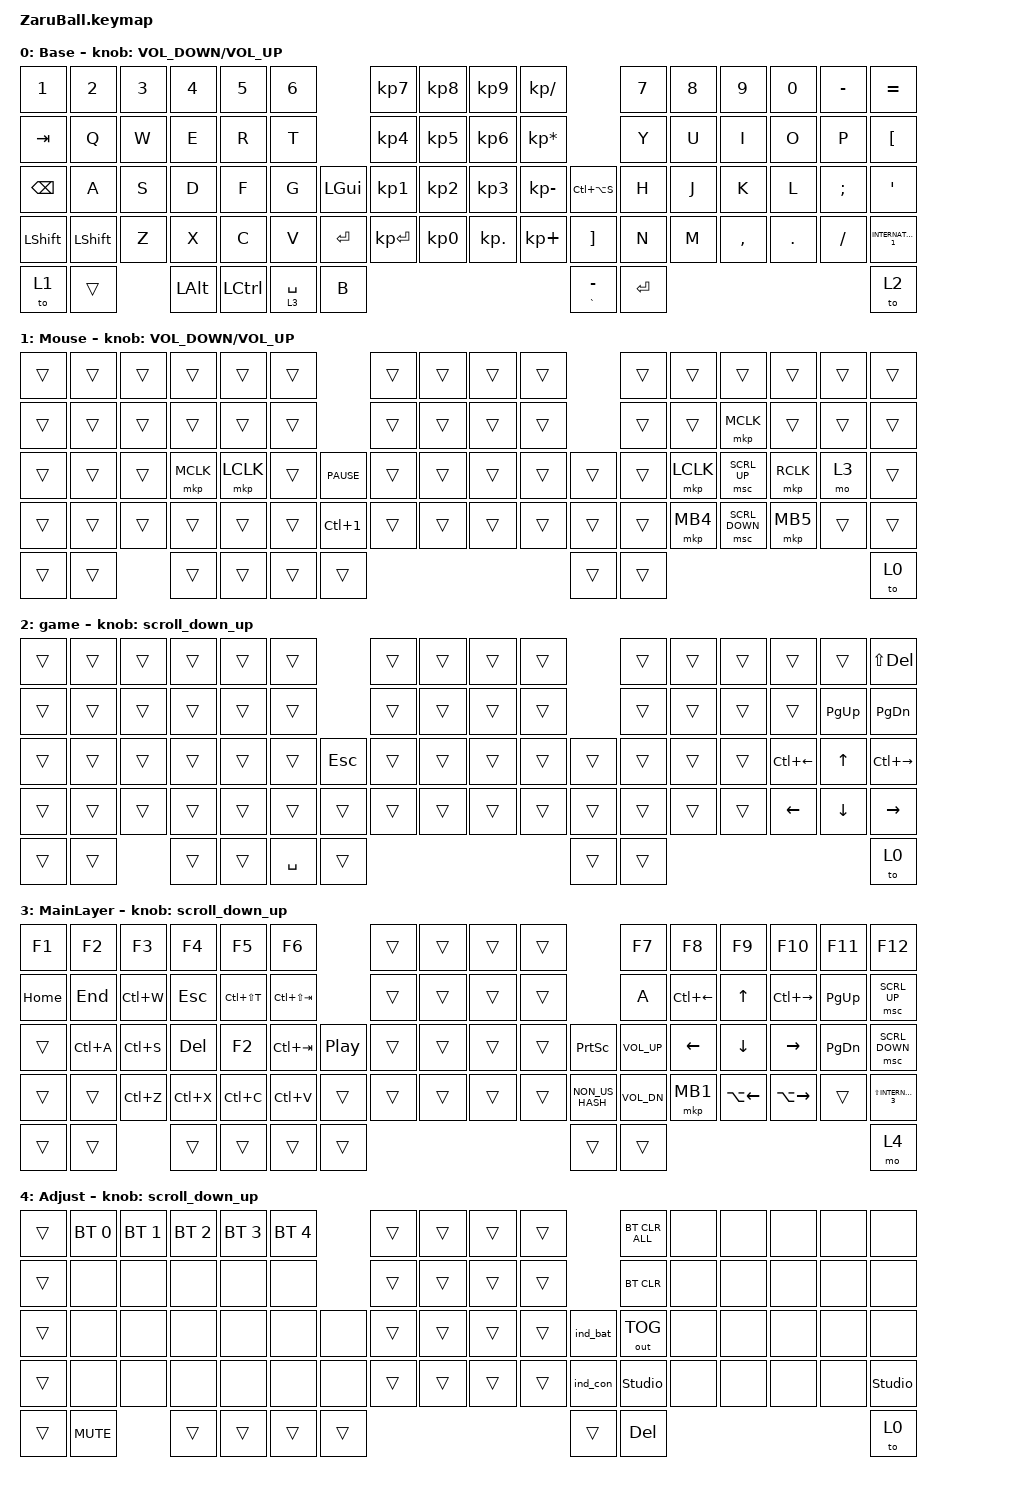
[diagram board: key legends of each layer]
//#include <dt-bindings/zmk/mouse.h>

#include <behaviors/rgbled_widget.dtsi>
#include <input/processors.dtsi>
#include <dt-bindings/zmk/input_transform.h>
#include <behaviors.dtsi>
#include <dt-bindings/zmk/bt.h>
#include <dt-bindings/zmk/keys.h>
#include <dt-bindings/zmk/outputs.h>
#include <dt-bindings/zmk/pointing.h>

#define BASE     0
#define MOUSE    1
#define LOWER    2
#define RAISE    3
#define ADJUST   4
#define SCROLL   3

// スクロール量の設定

#define ZMK_POINTING_DEFAULT_SCRL_VAL 100

&trackball_listener {
    input-processors = <
                         &zip_xy_transform (INPUT_TRANSFORM_XY_SWAP | INPUT_TRANSFORM_Y_INVERT | INPUT_TRANSFORM_X_INVERT)
                         &zip_temp_layer MOUSE 500
    >;

    scroller {
        layers = <SCROLL>;
        input-processors = <
                            &zip_xy_transform (INPUT_TRANSFORM_XY_SWAP | INPUT_TRANSFORM_X_INVERT)
                            &zip_xy_scaler 1 20
                            &zip_xy_to_scroll_mapper
        >;
    };
};

/ {
    conditional_layers { compatible = "zmk,conditional-layers"; };
};

/ {
    behaviors {
        // スクロール用のbehaviorの設定

        scroll_down_up: behavior_sensor_rotate_mouse_wheel_down_up {
            compatible = "zmk,behavior-sensor-rotate";
            #sensor-binding-cells = <0>;
            bindings = <&msc SCRL_DOWN>, <&msc SCRL_UP>;

            tap-ms = <20>; // スクロールのタップ時間
        };

        td0: tap_dance_0 {
            compatible = "zmk,behavior-tap-dance";
            #binding-cells = <0>;
            tapping-term-ms = <200>;
            bindings = <&to 1>, <&to 2>;
        };

        td1: tap_dance_1 {
            compatible = "zmk,behavior-tap-dance";
            #binding-cells = <0>;
            tapping-term-ms = <200>;
            bindings = <&mt RCTL LANG1>, <&mo 0>, <&mo 0>;
        };

        // Customed Hold-Tap for SandS

        SandS: SandS {
            compatible = "zmk,behavior-hold-tap";
            #binding-cells = <2>;
            flavor = "tap-unless-interrupted";
            tapping-term-ms = <500>;
            quick-tap-ms = <500>;
            bindings = <&kp>, <&kp>;

            display-name = "SandS";
        };
    };
};

&sl { release-after-ms = <250>; }; // time needed for double click (for mkp_exit_AML)
/ {
    macros {
        // When in AML, move to default layer when key (except mouse button) pressed

        to_layer_0: to_layer_0 {
            compatible = "zmk,behavior-macro-one-param";
            #binding-cells = <1>;
            bindings = <&macro_param_1to1 &kp MACRO_PLACEHOLDER &to 0>;
            label = "TO_layer_0";
        };

        // When LCLK pressed, exit AML (after 250ms cause by sticky layer

        mkp_exit_AML: mkp_exit_AML {
            compatible = "zmk,behavior-macro-one-param";
            #binding-cells = <1>;
            bindings =
                <&macro_press>,
                <&macro_param_1to1 &mkp MACRO_PLACEHOLDER>,
                <&macro_pause_for_release>,
                <&macro_release>,
                <&macro_param_1to1 &mkp MACRO_PLACEHOLDER>,
                <&macro_tap>,
                <&sl 1>;

            label = "MKP_EXIT_AML";
        };
    };
};

/ {
    keymap {
        compatible = "zmk,keymap";

        base_layer {
            display-name = "Base";
            sensor-bindings = <&inc_dec_kp C_VOLUME_DOWN C_VOLUME_UP>;
            bindings = <
&kp NUMBER_1   &kp NUMBER_2  &kp NUMBER_3  &kp NUMBER_4  &kp NUMBER_5  &kp NUMBER_6                  &kp KP_N7     &kp KP_N8  &kp KP_N9   &kp KP_DIVIDE                         &kp NUMBER_7  &kp N8  &kp N9     &kp NUMBER_0  &kp MINUS  &kp EQUAL
&kp TAB        &kp Q         &kp W         &kp E         &kp R         &kp T                         &kp KP_N4     &kp KP_N5  &kp KP_N6   &kp KP_MULTIPLY                       &kp Y         &kp U   &kp I      &kp O         &kp P      &kp LEFT_BRACKET
&kp BACKSPACE  &kp A         &kp S         &kp D         &kp F         &kp G         &kp LEFT_GUI    &kp KP_N1     &kp KP_N2  &kp KP_N3   &kp KP_MINUS       &kp LC(LA(S))      &kp H         &kp J   &kp K      &kp L         &kp SEMI   &kp SINGLE_QUOTE
&kp LSHFT      &kp LSHFT     &kp Z         &kp X         &kp C         &kp V         &kp ENTER       &kp KP_ENTER  &kp KP_N0  &kp KP_DOT  &kp KP_PLUS        &kp RIGHT_BRACKET  &kp N         &kp M   &kp COMMA  &kp DOT       &kp FSLH   &kp INTERNATIONAL_1
&to 1          &trans                      &kp LALT      &kp LCTRL     &lt 3 SPACE   &kp B                                                                   &mt GRAVE MINUS    &kp ENTER                                                 &to 2
            >;
        };

        mouse_layer {
            display-name = "Mouse";
            sensor-bindings = <&inc_dec_kp C_VOLUME_DOWN C_VOL_UP>;
            bindings = <
&trans  &trans  &trans  &trans     &trans     &trans                      &trans  &trans  &trans  &trans            &trans  &trans     &trans          &trans     &trans  &trans
&trans  &trans  &trans  &trans     &trans     &trans                      &trans  &trans  &trans  &trans            &trans  &trans     &mkp MCLK       &trans     &trans  &trans
&trans  &trans  &trans  &mkp MCLK  &mkp LCLK  &trans  &kp C_PAUSE         &trans  &trans  &trans  &trans    &trans  &trans  &mkp LCLK  &msc SCRL_UP    &mkp RCLK  &mo 3   &trans
&trans  &trans  &trans  &trans     &trans     &trans  &kp LC(NUMBER_1)    &trans  &trans  &trans  &trans    &trans  &trans  &mkp MB4   &msc SCRL_DOWN  &mkp MB5   &trans  &trans
&trans  &trans          &trans     &trans     &trans  &trans                                                &trans  &trans                                                &to 0
            >;
        };

        game {
            bindings = <
&trans  &trans  &trans  &trans  &trans  &trans                &trans  &trans  &trans  &trans            &trans  &trans  &trans  &trans          &trans        &kp LS(DELETE)
&trans  &trans  &trans  &trans  &trans  &trans                &trans  &trans  &trans  &trans            &trans  &trans  &trans  &trans          &kp PAGE_UP   &kp PAGE_DOWN
&trans  &trans  &trans  &trans  &trans  &trans     &kp ESC    &trans  &trans  &trans  &trans    &trans  &trans  &trans  &trans  &kp LC(LEFT)    &kp UP_ARROW  &kp LC(RIGHT)
&trans  &trans  &trans  &trans  &trans  &trans     &trans     &trans  &trans  &trans  &trans    &trans  &trans  &trans  &trans  &kp LEFT_ARROW  &kp DOWN      &kp RIGHT
&trans  &trans          &trans  &trans  &kp SPACE  &trans                                       &trans  &trans                                                &to 0
            >;

            sensor-bindings = <&scroll_down_up>;
        };

        MainLayer {
            bindings = <
&kp F1    &kp F2     &kp F3     &kp F4      &kp F5         &kp F6                               &trans  &trans  &trans  &trans                     &kp F7        &kp F8              &kp F9          &kp F10        &kp F11        &kp F12
&kp HOME  &kp END    &kp LC(W)  &kp ESCAPE  &kp LC(LS(T))  &kp LC(LS(TAB))                      &trans  &trans  &trans  &trans                     &kp A         &kp LC(LEFT_ARROW)  &kp UP_ARROW    &kp LC(RIGHT)  &kp PG_UP      &msc SCRL_UP
&trans    &kp LC(A)  &kp LC(S)  &kp DEL     &kp F2         &kp LC(TAB)      &kp C_PLAY_PAUSE    &trans  &trans  &trans  &trans    &kp PRINTSCREEN  &kp C_VOL_UP  &kp LEFT            &kp DOWN_ARROW  &kp RIGHT      &kp PAGE_DOWN  &msc SCRL_DOWN
&trans    &trans     &kp LC(Z)  &kp LC(X)   &kp LC(C)      &kp LC(V)        &trans              &trans  &trans  &trans  &trans    &kp NON_US_HASH  &kp C_VOL_DN  &mkp MB1            &kp LA(LEFT)    &kp LA(RIGHT)  &trans         &kp LS(INTERNATIONAL_3)
&trans    &trans                &trans      &trans         &trans           &trans                                                &trans           &trans                                                                          &mo 4
            >;

            sensor-bindings = <&scroll_down_up>;
        };

        adjust_layer {
            display-name = "Adjust";
            sensor-bindings = <&scroll_down_up>;
            bindings = <
&trans  &bt BT_SEL 0  &bt BT_SEL 1  &bt BT_SEL 2  &bt BT_SEL 3  &bt BT_SEL 4            &trans  &trans  &trans  &trans              &bt BT_CLR_ALL  &none  &none  &none  &none  &none
&trans  &none         &none         &none         &none         &none                   &trans  &trans  &trans  &trans              &bt BT_CLR      &none  &none  &none  &none  &none
&trans  &none         &none         &none         &none         &none         &none     &trans  &trans  &trans  &trans    &ind_bat  &out OUT_TOG    &none  &none  &none  &none  &none
&trans  &none         &none         &none         &none         &none         &none     &trans  &trans  &trans  &trans    &ind_con  &studio_unlock  &none  &none  &none  &none  &studio_unlock
&trans  &kp C_MUTE                  &trans        &trans        &trans        &trans                                      &trans    &kp DEL                                     &to 0
            >;
        };

        // Extra layer can be added in ZMK STUDIO
    };
};
